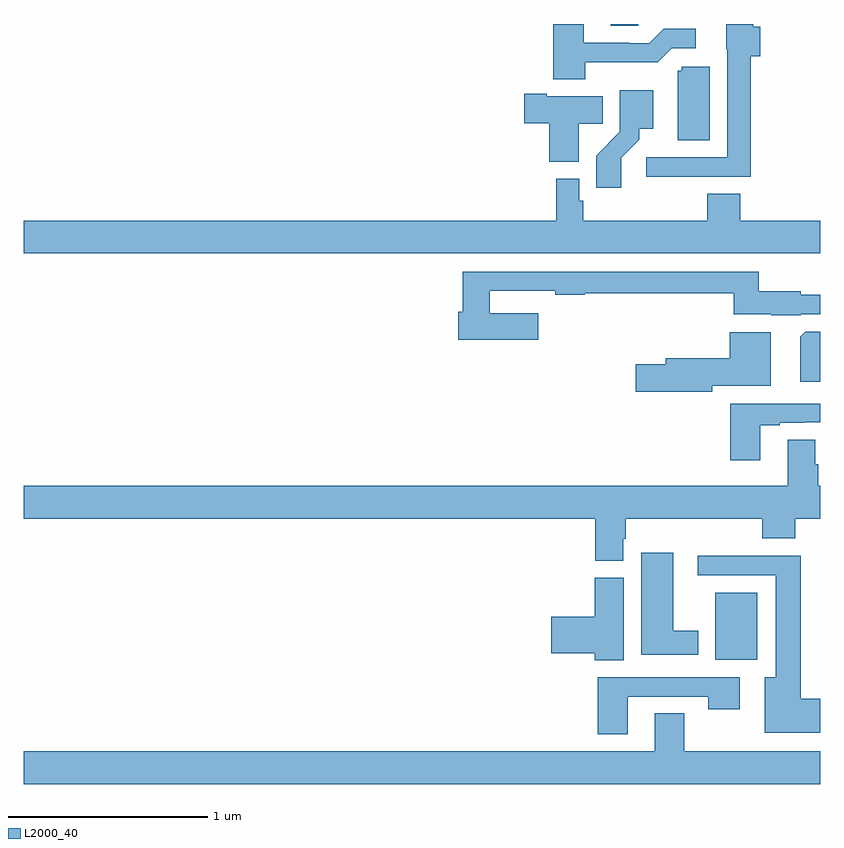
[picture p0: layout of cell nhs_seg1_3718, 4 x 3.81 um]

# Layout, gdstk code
import gdstk
lib = gdstk.Library(unit=1e-6, precision=1e-09)
def R(c, l, rs):  # rectangles x0, y0, x1, y1
    for r in rs: c.add(gdstk.rectangle(r[:2], r[2:], *l))
def P(c, l, *ps):  # polygons
    for p in ps: c.add(gdstk.Polygon(p, *l))
L2000_40 = (2000, 40)

nhs_seg1_3718 = lib.new_cell('nhs_seg1_3718')
R(nhs_seg1_3718, L2000_40, [(316.472,567.008,316.684,567.343), (315.947,570.19,316.086,570.199)])
P(nhs_seg1_3718, L2000_40, [(316.349,569.433),(316.649,569.433),(316.649,570.038),(316.697,570.038),(316.697,570.186),(316.662,570.186),(316.662,570.199),(316.526,570.199),(316.526,570.072),(316.533,570.072),(316.533,569.529),(316.125,569.529),(316.125,569.431),(316.349,569.431)],
  [(315.819,570.008),(316.183,570.008),(316.254,570.078),(316.375,570.078),(316.375,570.175),(316.213,570.175),(316.14,570.102),(316.04,570.102),(316.04,570.105),(315.811,570.105),(315.811,570.199),(315.659,570.199),(315.659,569.921),(315.819,569.921)],
  [(316.444,569.985),(316.305,569.985),(316.305,569.964),(316.283,569.964),(316.283,569.616),(316.444,569.616)],
  [(316,569.527),(316.09,569.617),(316.09,569.672),(316.162,569.672),(316.162,569.866),(315.993,569.866),(315.993,569.657),(315.874,569.538),(315.874,569.376),(316,569.376)],
  [(315.787,569.698),(315.908,569.698),(315.908,569.836),(315.625,569.836),(315.625,569.848),(315.513,569.848),(315.513,569.702),(315.638,569.702),(315.638,569.507),(315.787,569.507)],
  [(317,569.212),(316.598,569.212),(316.598,569.348),(316.433,569.348),(316.433,569.212),(315.809,569.212),(315.809,569.313),(315.789,569.313),(315.789,569.422),(315.673,569.422),(315.673,569.212),(313,569.212),(313,569.048),(317,569.048)],
  [(315.583,568.747),(315.341,568.747),(315.341,568.86),(315.67,568.86),(315.67,568.84),(315.818,568.84),(315.818,568.848),(316.565,568.848),(316.565,568.742),(316.752,568.742),(316.752,568.736),(316.902,568.736),(316.902,568.743),(317,568.743),(317,568.839),(316.902,568.839),(316.902,568.858),(316.69,568.858),(316.69,568.956),(315.205,568.956),(315.205,568.755),(315.182,568.755),(315.182,568.613),(315.583,568.613)],
  [(317,568.654),(316.924,568.654),(316.898,568.628),(316.898,568.403),(317,568.403)],
  [(316.458,568.382),(316.75,568.382),(316.75,568.652),(316.544,568.652),(316.544,568.521),(316.223,568.521),(316.223,568.491),(316.074,568.491),(316.074,568.354),(316.458,568.354)],
  [(316.699,568.185),(316.795,568.185),(316.795,568.197),(316.922,568.197),(316.922,568.2),(317,568.2),(317,568.294),(316.547,568.294),(316.547,568.008),(316.699,568.008)],
  [(316.009,567.615),(316.022,567.615),(316.022,567.716),(316.709,567.716),(316.709,567.617),(316.874,567.617),(316.874,567.716),(317,567.716),(317,567.88),(316.988,567.88),(316.988,567.99),(316.974,567.99),(316.974,568.112),(316.835,568.112),(316.835,567.88),(313,567.88),(313,567.716),(315.869,567.716),(315.869,567.505),(316.009,567.505)],
  [(316.387,567.154),(316.261,567.154),(316.261,567.544),(316.1,567.544),(316.1,567.032),(316.387,567.032)],
  [(317,566.813),(316.901,566.813),(316.901,567.53),(316.383,567.53),(316.383,567.432),(316.775,567.432),(316.775,566.92),(316.721,566.92),(316.721,566.642),(317,566.642)],
  [(316.012,567.42),(315.866,567.42),(315.866,567.224),(315.648,567.224),(315.648,567.041),(315.866,567.041),(315.866,567.004),(316.012,567.004)],
  [(316.033,566.823),(316.438,566.823),(316.438,566.76),(316.594,566.76),(316.594,566.919),(315.881,566.919),(315.881,566.634),(316.033,566.634)],
  [(317,566.548),(316.317,566.548),(316.317,566.738),(316.169,566.738),(316.169,566.548),(313,566.548),(313,566.384),(317,566.384)])

lib.write_gds('nhs_seg1_3718.gds')
